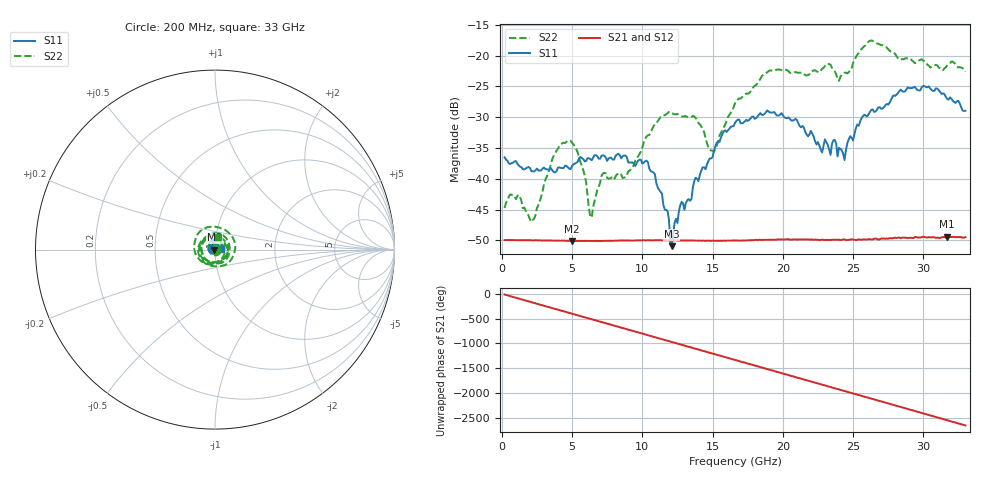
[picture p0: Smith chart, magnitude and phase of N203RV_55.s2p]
# GHZ S RI R 50
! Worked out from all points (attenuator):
!   329 points, 200 MHz to 33 GHz, reference 50 ohm
!   highest |S21| = -49.39 dB at 31.7 GHz (marker M1); lowest = -50.1 dB at 5 GHz (marker M2)
!   lowest |S11| = -50.9 dB at 12.1 GHz (marker M3), VSWR 1.01, Z = 49.7 - j0.0309 ohm
!   |S11| at or under -10 dB: start of sweep to end of sweep
!   |S22| runs from -47.0 to -17.6 dB; largest |S21 - S12| = 7.2e-05
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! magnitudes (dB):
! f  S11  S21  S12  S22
! 200 MHz  -36.5  -50.0  -49.9  -44.8
! 1.2 GHz  -37.8  -50.0  -50.0  -42.6
! 2.1 GHz  -38.7  -50.0  -50.0  -47.0
! 3.8 GHz  -39.0  -50.1  -50.0  -35.8
! 5 GHz  -37.9  -50.1  -50.1  -34.2
! 5.7 GHz  -36.6  -50.1  -50.1  -37.9
! 6.4 GHz  -37.0  -50.1  -50.1  -46.3
! 7.2 GHz  -36.2  -50.1  -50.1  -39.1
! 8.8 GHz  -36.2  -50.0  -50.0  -39.8
! 11.2 GHz  -41.8  -50.0  -50.0  -30.3
! 11.8 GHz  -45.2  -50.0  -50.0  -29.4
! 12.1 GHz  -50.9  -50.0  -50.0  -29.4
! 12.8 GHz  -43.8  -50.0  -50.0  -29.8
! 15.1 GHz  -35.5  -50.1  -50.1  -35.6
! 16.6 GHz  -30.9  -50.0  -50.0  -27.8
! 19 GHz  -29.1  -49.9  -49.9  -22.5
! 22.1 GHz  -32.7  -49.9  -49.8  -22.5
! 24.4 GHz  -37.0  -49.9  -49.8  -22.8
! 25.7 GHz  -29.9  -49.9  -49.8  -18.7
! 27.6 GHz  -27.7  -49.7  -49.7  -19.2
! 31.7 GHz  -27.0  -49.4  -49.6  -21.6
! 33 GHz  -29.0  -49.5  -49.5  -22.6
